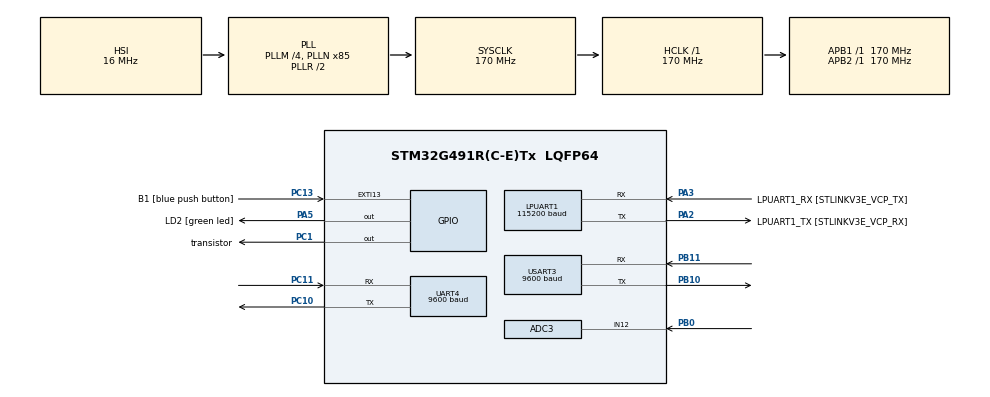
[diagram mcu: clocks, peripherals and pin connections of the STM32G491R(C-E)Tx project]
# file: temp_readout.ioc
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ADC3.Channel-0\#ChannelRegularConversion=ADC_CHANNEL_12
ADC3.NbrOfConversionFlag=1
ADC3.OffsetNumber-0\#ChannelRegularConversion=ADC_OFFSET_NONE
ADC3.Rank-0\#ChannelRegularConversion=1
ADC3.SamplingTime-0\#ChannelRegularConversion=ADC_SAMPLETIME_2CYCLES_5
ADC3.master=1
LPUART1.BaudRate=115200
LPUART1.WordLength=UART_WORDLENGTH_8B
Mcu.Family=STM32G4
Mcu.Name=STM32G491R(C-E)Tx
Mcu.Package=LQFP64
NVIC.EXTI15_10_IRQn=true\:0\:0\:false\:true\:true\:2\:true\:true\:true
NVIC.LPUART1_IRQn=true\:0\:0\:false\:true\:true\:1\:true\:true\:true
NVIC.PriorityGroup=NVIC_PRIORITYGROUP_4
PA13.GPIO_Label=T_SWDIO
PA13.Mode=Serial_Wire
PA13.Signal=SYS_JTMS-SWDIO
PA14.GPIO_Label=T_SWCLK
PA14.Mode=Serial_Wire
PA14.Signal=SYS_JTCK-SWCLK
PA2.GPIO_Label=LPUART1_TX [STLINKV3E_VCP_RX]
PA2.Mode=Asynchronous
PA2.Signal=LPUART1_TX
PA3.GPIO_Label=LPUART1_RX [STLINKV3E_VCP_TX]
PA3.Mode=Asynchronous
PA3.Signal=LPUART1_RX
PA5.GPIO_Label=LD2 [green led]
PA5.Signal=GPIO_Output
PB0.Mode=IN12-Single-Ended
PB0.Signal=ADC3_IN12
PB10.Mode=Asynchronous
PB10.Signal=USART3_TX
PB11.Mode=Asynchronous
PB11.Signal=USART3_RX
PB3.GPIO_Label=T_SWO
PB3.Signal=SYS_JTDO-SWO
PC1.GPIO_Label=transistor
PC1.GPIO_Speed=GPIO_SPEED_FREQ_MEDIUM
PC1.PinState=GPIO_PIN_SET
PC1.Signal=GPIO_Output
PC10.Mode=Asynchronous
PC10.Signal=UART4_TX
PC11.Mode=Asynchronous
PC11.Signal=UART4_RX
PC13.GPIO_Label=B1 [blue push button]
PC13.Signal=GPXTI13
PC14-OSC32_IN.Mode=LSE-External-Oscillator
PC14-OSC32_IN.Signal=RCC_OSC32_IN
PC15-OSC32_OUT.Mode=LSE-External-Oscillator
PC15-OSC32_OUT.Signal=RCC_OSC32_OUT
PF0-OSC_IN.Mode=HSE-External-Oscillator
PF0-OSC_IN.Signal=RCC_OSC_IN
PF1-OSC_OUT.Mode=HSE-External-Oscillator
PF1-OSC_OUT.Signal=RCC_OSC_OUT
ProjectManager.HeapSize=0x200
ProjectManager.StackSize=0x400
ProjectManager.TargetToolchain=STM32CubeIDE
RCC.ADC12Freq_Value=170000000
RCC.ADC345Freq_Value=170000000
RCC.AHBFreq_Value=170000000
RCC.APB1Freq_Value=170000000
RCC.APB1TimFreq_Value=170000000
RCC.APB2Freq_Value=170000000
RCC.APB2TimFreq_Value=170000000
RCC.CortexFreq_Value=170000000
RCC.EXTERNAL_CLOCK_VALUE=12288000
RCC.HCLKFreq_Value=170000000
RCC.HSE_VALUE=24000000
RCC.HSI48_VALUE=48000000
RCC.HSI_VALUE=16000000
RCC.PLLM=RCC_PLLM_DIV4
RCC.PLLN=85
RCC.RTCClockSelection=RCC_RTCCLKSOURCE_LSE
RCC.SYSCLKFreq_VALUE=170000000
RCC.SYSCLKSource=RCC_SYSCLKSOURCE_PLLCLK
RCC.USBFreq_Value=48000000
RCC.VCOOutputFreq_Value=340000000
UART4.BaudRate=9600
USART3.BaudRate=9600
USART3.VirtualMode-Asynchronous=VM_ASYNC
VP_SYS_VS_DBSignals.Mode=DisableDeadBatterySignals
board=NUCLEO-G491RE

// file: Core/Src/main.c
/* USER CODE BEGIN Header */
/**
  ******************************************************************************
  * @file           : main.c
  * @brief          : Main program body
  ******************************************************************************
  * @attention
  *
  * Copyright (c) 2023 STMicroelectronics.
  * All rights reserved.
  *
  * This software is licensed under terms that can be found in the LICENSE file
  * in the root directory of this software component.
  * If no LICENSE file comes with this software, it is provided AS-IS.
  *
  ******************************************************************************
  */
/* USER CODE END Header */
#include "main.h"

/* USER CODE BEGIN Includes */
#include <stdio.h>
#include <string.h>
#include <stdlib.h>
#include <math.h>
#include "EMA_filter.h"
/* USER CODE END Includes */

/* USER CODE BEGIN PTD */
HAL_StatusTypeDef status;
/* USER CODE END PTD */

/* USER CODE BEGIN PD */
#define FIR_FILTER_LENGTH 11
/* USER CODE END PD */

ADC_HandleTypeDef hadc3;

UART_HandleTypeDef hlpuart1;
UART_HandleTypeDef huart4;
UART_HandleTypeDef huart3;

/* USER CODE BEGIN PV */
uint16_t raw;
float temp;
float tempFilter;
uint16_t tempInt;
float tempDiv=0;
uint32_t sampleDiv=0;
char msg[7];
char timer[7];
long int tempProcessFloat;
char tempProcess[4];
char tempProcessString[7];
float floatProcess;

char rx_data[5];
volatile float setpoint=0.0;
volatile float setpointNew=0.0;
char invalidTemp[] = "Invalid Temperature";

char received[3];
uint8_t hysteresis1;
uint8_t hysteresis2;
volatile uint32_t ticks;
uint32_t ticksLong;
volatile uint8_t counter;
volatile uint8_t buttonCount;
GPIO_PinState transistor;
uint8_t hystOn;
uint8_t hystEnable;
uint32_t onTime;
uint32_t startTime;
volatile float startpoint;

float alpha;
EMA filt;
float filterOut;

char txSetpoint[10];
char rxSetpoint[10];
char txMinSetpoint[]="{M30F060\r\n";
char txMaxSetpoint[]="{M312710\r\n";
char txStopCooler[]="{M140000\r\n";
char txStartCooler[]="{M140001\r\n";
char rxStartCooler[10];
char txProcess[]="{M07****\r\n";
char rxProcess[10];

uint16_t set=3000;
char stringSet[2];
char rxSetpoint[10];
uint16_t testSetpoint;
uint8_t length;
uint32_t timeCooler;

float firBuf[31];
float inpFIR;
float outFIR;
float tempFIR;
uint8_t sumIndex;
uint8_t bufIndex;
//filter coefficients
float FIR_FILTER_RESPONSE[31]={-0.001085865252318356,
		-0.000820198808479928,
		-0.000399968844021554,
		0.000607254181376241,
		0.002691675426970146,
		0.006311591779100447,
		0.011798257363143711,
		0.019271958935107820,
		0.028584966261934557,
		0.039303202469766950,
		0.050732418817472154,
		0.061987359581297821,
		0.072095113518572937,
		0.080117842316778404,
		0.085276424945082460,
		0.087055934616432185,
		0.085276424945082460,
		0.080117842316778390,
		0.072095113518572965,
		0.061987359581297835,
		0.050732418817472175,
		0.039303202469766964,
		0.028584966261934575,
		0.019271958935107830,
		0.011798257363143716,
		0.006311591779100447,
		0.002691675426970146,
		0.000607254181376241,
		-0.000399968844021553,
		-0.000820198808479928,
		-0.001085865252318356};
/* USER CODE END PV */

void SystemClock_Config(void);
static void MX_GPIO_Init(void);
static void MX_LPUART1_UART_Init(void);
static void MX_ADC3_Init(void);
static void MX_UART4_Init(void);
static void MX_USART3_UART_Init(void);
static void MX_NVIC_Init(void);
/* USER CODE BEGIN PFP */
 void delay(uint16_t millis);
float FIRFilter(float inpFIR);
float calcFloat(char hexTemp[4]);
char* calcHex(int intTemp);
/* USER CODE END PFP */

int main(void)
{

  /* MCU Configuration--------------------------------------------------------*/

  /* Reset of all peripherals, Initializes the Flash interface and the Systick. */
  HAL_Init();

  /* USER CODE BEGIN Init */
  //EMA_Init(&filt,alpha);
  alpha=0.5;
  filt.out=0.0;
  /* USER CODE END Init */

  /* Configure the system clock */
  SystemClock_Config();

  /* USER CODE BEGIN SysInit */
  //SysTick configuration

    SystemCoreClockUpdate();
    //generate interrupt for every 1ms
    SysTick_Config(SystemCoreClock/10);
    //SysTick ->LOAD = 72000-1;
    SysTick ->CTRL = 0;
    SysTick ->VAL = 0;
    SysTick ->CTRL = (SysTick_CTRL_TICKINT_Msk |
  		            SysTick_CTRL_ENABLE_Msk |
  					SysTick_CTRL_CLKSOURCE_Msk);

  /* USER CODE END SysInit */

  /* Initialize all configured peripherals */
  MX_GPIO_Init();
  MX_LPUART1_UART_Init();
  MX_ADC3_Init();
  MX_UART4_Init();
  MX_USART3_UART_Init();

  /* Initialize interrupts */
  MX_NVIC_Init();
  /* USER CODE BEGIN 2 */

  //hardcode minimum and maximum Setpoint
  HAL_UART_Transmit(&huart4, (uint8_t*)txMaxSetpoint,strlen(txMaxSetpoint),HAL_MAX_DELAY);
  HAL_Delay(2000);
  HAL_UART_Transmit(&huart4, (uint8_t*)txMinSetpoint,strlen(txMinSetpoint),HAL_MAX_DELAY);
  HAL_Delay(2000);

  /* USER CODE END 2 */

  /* Infinite loop */
  while (1)
  {

    /* USER CODE BEGIN 3 */

	HAL_ADC_Start(&hadc3);
	HAL_ADC_PollForConversion(&hadc3,HAL_MAX_DELAY);
	raw=HAL_ADC_GetValue(&hadc3);
	//transform 12 bit ADC value to temperature
	temp=(raw-1030)*0.0183;
	tempInt=(uint32_t)temp;
	sampleDiv++;
	tempFIR=FIRFilter(temp);
	HAL_Delay(2000);

	//pick one sample per second to be transmitted to the terminal
	if(sampleDiv==130000)
	{

		sampleDiv=0;
		//lowpass filter the results (it can be chosen between EMA and FIR filter)
		//tempFilter=EMA_Update(&filt,temp,alpha);
		tempFIR=FIRFilter(temp);
		sprintf(msg,"%.3f\r\n", tempFIR);
        //send filtered temp data to terminal
	    HAL_UART_Transmit(&hlpuart1,(uint8_t*)msg, strlen(msg),HAL_MAX_DELAY);
	    //send time in milliseconds to the terminal
	    sprintf(timer,"%ld\r\n",ticksLong);
	    HAL_UART_Transmit(&hlpuart1,(uint8_t*)timer, strlen(timer),HAL_MAX_DELAY);

	    //request process temperature of cooler (not tested)

	    HAL_UART_Transmit(&huart4, (uint8_t*)txProcess,strlen(txProcess),HAL_MAX_DELAY);
	    HAL_UART_Receive(&huart4, (uint8_t*)rxProcess,10,5000);
	    tempProcess[0]=rxProcess[7];
	    tempProcess[1]=rxProcess[6];
	    tempProcess[2]=rxProcess[5];
	    tempProcess[3]=rxProcess[4];

	    //convert hex value in string format into an integer
	    tempProcessFloat=calcFloat(tempProcess);

	    sprintf(tempProcessString,"%.2f\r\n",tempProcessFloat);
	    //send process temperature to PC in string format
	    HAL_UART_Transmit(&hlpuart1, (uint8_t*)tempProcessString,7,HAL_MAX_DELAY);

	}

	//Transistor On/Off control with hysteresis around final setpoint
	if(hystEnable==1)
	{
	if(temp>setpoint)
	{
	  HAL_GPIO_WritePin(transistor_GPIO_Port, transistor_Pin, GPIO_PIN_RESET);
	  hystOn=1;
	}
	else if(temp<setpoint-1)
	{
	  HAL_GPIO_WritePin(transistor_GPIO_Port, transistor_Pin, GPIO_PIN_SET);
	  hystOn=0;
	}
	else if(temp<=setpoint && temp>=setpoint-1 && hystOn==1)
	{
	  HAL_GPIO_WritePin(transistor_GPIO_Port, transistor_Pin, GPIO_PIN_RESET);
	}
	else if(temp<=setpoint && temp>=setpoint-1 && hystOn==0)
	{
	  HAL_GPIO_WritePin(transistor_GPIO_Port, transistor_Pin, GPIO_PIN_SET);
	}
	}

    //switch the oven on and then off again at the time simulated in simulink
	onTime=ticks-startTime;
	if(setpoint-startpoint>15.00 && setpoint-startpoint<17.00)
	{

	   if(onTime<665000)
	   {
		   HAL_GPIO_WritePin(transistor_GPIO_Port, transistor_Pin, GPIO_PIN_SET);
	   }
	   else if(onTime>665000 && onTime<3030000)
	   {
		   HAL_GPIO_WritePin(transistor_GPIO_Port, transistor_Pin, GPIO_PIN_RESET);

	   }
	   else if(onTime>3030000)
	   {
		   //since a point close to the setpoint is reached the hysteresis control can be enabled
		   hystEnable=1;
	   }
	}
	else if(setpoint-startpoint>17.00 && setpoint-startpoint<19.00)
	{
	   if(onTime<712000)
	   {
		   HAL_GPIO_WritePin(transistor_GPIO_Port, transistor_Pin, GPIO_PIN_SET);
	   }
	   else if(onTime>712000 && onTime<3030000)
	   {
		   HAL_GPIO_WritePin(transistor_GPIO_Port, transistor_Pin, GPIO_PIN_RESET);
	   }
	   else if(onTime>3030000)
	   {
		   hystEnable=1;
	   }

	}
	else if(setpoint-startpoint>19.00 && setpoint-startpoint<21.00)
	{
	   if(onTime<758000)
	   {
		   HAL_GPIO_WritePin(transistor_GPIO_Port, transistor_Pin, GPIO_PIN_SET);
	   }
	   else if(onTime>758000 && onTime<3030000)
	   {
		   HAL_GPIO_WritePin(transistor_GPIO_Port, transistor_Pin, GPIO_PIN_RESET);
	   }
	   else if(onTime>3030000)
	   {
		   hystEnable=1;
	   }

	}
	else if(setpoint-startpoint>21.00 && setpoint-startpoint<23.00)
	{
	   if(onTime<804000)
	   {
		   HAL_GPIO_WritePin(transistor_GPIO_Port, transistor_Pin, GPIO_PIN_SET);
	   }
	   else if(onTime>804000 && onTime<3030000)
	   {
		   HAL_GPIO_WritePin(transistor_GPIO_Port, transistor_Pin, GPIO_PIN_RESET);
	   }
	   else if(onTime>3030000)
	   {
		   hystEnable=1;
	   }

	}
	else if(setpoint-startpoint>23.00 && setpoint-startpoint<25.00)
	{
	   if(onTime<850000)
	   {
		   HAL_GPIO_WritePin(transistor_GPIO_Port, transistor_Pin, GPIO_PIN_SET);
	   }
	   else if(onTime>850000 && onTime<3030000)
	   {
		   HAL_GPIO_WritePin(transistor_GPIO_Port, transistor_Pin, GPIO_PIN_RESET);
	   }
	   else if(onTime>3030000)
	   {
		   hystEnable=1;
	   }

	}
	else if(setpoint-startpoint>25.00 && setpoint-startpoint<27.00)
	{
	   if(onTime<896000)
	   {
		   HAL_GPIO_WritePin(transistor_GPIO_Port, transistor_Pin, GPIO_PIN_SET);
	   }
	   else if(onTime>896000 && onTime<3030000)
	   {
		   HAL_GPIO_WritePin(transistor_GPIO_Port, transistor_Pin, GPIO_PIN_RESET);
	   }
	   else if(onTime>3030000)
	   {
		   hystEnable=1;
	   }

	}
	else if(setpoint-startpoint>27.00 && setpoint-startpoint<29.00)
	{
	   if(onTime<942000)
	   {
		   HAL_GPIO_WritePin(transistor_GPIO_Port, transistor_Pin, GPIO_PIN_SET);
	   }
	   else if(onTime>942000 && onTime<3030000)
	   {
		   HAL_GPIO_WritePin(transistor_GPIO_Port, transistor_Pin, GPIO_PIN_RESET);
	   }
	   else if(onTime>3030000)
	   {
		   hystEnable=1;
	   }

	}
	else if(setpoint-startpoint>29.00 && setpoint-startpoint<31.00)
	{
	   if(onTime<988000)
	   {
		   HAL_GPIO_WritePin(transistor_GPIO_Port, transistor_Pin, GPIO_PIN_SET);
	   }
	   else if(onTime>988000 && onTime<3030000)
	   {
		   HAL_GPIO_WritePin(transistor_GPIO_Port, transistor_Pin, GPIO_PIN_RESET);
	   }
	   else if(onTime>3030000)
	   {
		   hystEnable=1;
	   }

	}
	else if(setpoint-startpoint>31.00 && setpoint-startpoint<33.00)
	{
	   if(onTime<1034000)
	   {
		   HAL_GPIO_WritePin(transistor_GPIO_Port, transistor_Pin, GPIO_PIN_SET);
	   }
	   else if(onTime>1034000 && onTime<3030000)
	   {
		   HAL_GPIO_WritePin(transistor_GPIO_Port, transistor_Pin, GPIO_PIN_RESET);
	   }
	   else if(onTime>3030000)
	   {
		   hystEnable=1;
	   }

	}
	else if(setpoint-startpoint>33.00 && setpoint-startpoint<35.00)
	{
	   if(onTime<1094000)
	   {
		   HAL_GPIO_WritePin(transistor_GPIO_Port, transistor_Pin, GPIO_PIN_SET);
	   }
	   else if(onTime>1094000 && onTime<3030000)
	   {
		   HAL_GPIO_WritePin(transistor_GPIO_Port, transistor_Pin, GPIO_PIN_RESET);
	   }
	   else if(onTime>3030000)
	   {
		   hystEnable=1;
	   }

	}
	else if(setpoint-startpoint>35.00 && setpoint-startpoint<37.00)
	{
	   if(onTime<1148000)
	   {
		   HAL_GPIO_WritePin(transistor_GPIO_Port, transistor_Pin, GPIO_PIN_SET);
	   }
	   else if(onTime>1148000 && onTime<3030000)
	   {
		   HAL_GPIO_WritePin(transistor_GPIO_Port, transistor_Pin, GPIO_PIN_RESET);
	   }
	   else if(onTime>3030000)
	   {
		   hystEnable=1;
	   }

	}

  }
  /* USER CODE END 3 */
}

void SystemClock_Config(void)
{
  RCC_OscInitTypeDef RCC_OscInitStruct = {0};
  RCC_ClkInitTypeDef RCC_ClkInitStruct = {0};

  /** Configure the main internal regulator output voltage
  */
  HAL_PWREx_ControlVoltageScaling(PWR_REGULATOR_VOLTAGE_SCALE1_BOOST);

  /** Initializes the RCC Oscillators according to the specified parameters
  * in the RCC_OscInitTypeDef structure.
  */
  RCC_OscInitStruct.OscillatorType = RCC_OSCILLATORTYPE_HSI;
  RCC_OscInitStruct.HSIState = RCC_HSI_ON;
  RCC_OscInitStruct.HSICalibrationValue = RCC_HSICALIBRATION_DEFAULT;
  RCC_OscInitStruct.PLL.PLLState = RCC_PLL_ON;
  RCC_OscInitStruct.PLL.PLLSource = RCC_PLLSOURCE_HSI;
  RCC_OscInitStruct.PLL.PLLM = RCC_PLLM_DIV4;
  RCC_OscInitStruct.PLL.PLLN = 85;
  RCC_OscInitStruct.PLL.PLLP = RCC_PLLP_DIV2;
  RCC_OscInitStruct.PLL.PLLQ = RCC_PLLQ_DIV2;
  RCC_OscInitStruct.PLL.PLLR = RCC_PLLR_DIV2;
  if (HAL_RCC_OscConfig(&RCC_OscInitStruct) != HAL_OK)
  {
    Error_Handler();
  }

  /** Initializes the CPU, AHB and APB buses clocks
  */
  RCC_ClkInitStruct.ClockType = RCC_CLOCKTYPE_HCLK|RCC_CLOCKTYPE_SYSCLK
                              |RCC_CLOCKTYPE_PCLK1|RCC_CLOCKTYPE_PCLK2;
  RCC_ClkInitStruct.SYSCLKSource = RCC_SYSCLKSOURCE_PLLCLK;
  RCC_ClkInitStruct.AHBCLKDivider = RCC_SYSCLK_DIV1;
  RCC_ClkInitStruct.APB1CLKDivider = RCC_HCLK_DIV1;
  RCC_ClkInitStruct.APB2CLKDivider = RCC_HCLK_DIV1;

  if (HAL_RCC_ClockConfig(&RCC_ClkInitStruct, FLASH_LATENCY_4) != HAL_OK)
  {
    Error_Handler();
  }
}

/**
  * @brief NVIC Configuration.
  * @retval None
  */
static void MX_NVIC_Init(void)
{
  /* LPUART1_IRQn interrupt configuration */
  HAL_NVIC_SetPriority(LPUART1_IRQn, 0, 0);
  HAL_NVIC_EnableIRQ(LPUART1_IRQn);
  /* EXTI15_10_IRQn interrupt configuration */
  HAL_NVIC_SetPriority(EXTI15_10_IRQn, 0, 0);
  HAL_NVIC_EnableIRQ(EXTI15_10_IRQn);
}

static void MX_ADC3_Init(void)
{

  ADC_ChannelConfTypeDef sConfig = {0};

  /** Common config
  */
  hadc3.Instance = ADC3;
  hadc3.Init.ClockPrescaler = ADC_CLOCK_SYNC_PCLK_DIV4;
  hadc3.Init.Resolution = ADC_RESOLUTION_12B;
  hadc3.Init.DataAlign = ADC_DATAALIGN_RIGHT;
  hadc3.Init.GainCompensation = 0;
  hadc3.Init.ScanConvMode = ADC_SCAN_DISABLE;
  hadc3.Init.EOCSelection = ADC_EOC_SINGLE_CONV;
  hadc3.Init.LowPowerAutoWait = DISABLE;
  hadc3.Init.ContinuousConvMode = DISABLE;
  hadc3.Init.NbrOfConversion = 1;
  hadc3.Init.DiscontinuousConvMode = DISABLE;
  hadc3.Init.ExternalTrigConv = ADC_SOFTWARE_START;
  hadc3.Init.ExternalTrigConvEdge = ADC_EXTERNALTRIGCONVEDGE_NONE;
  hadc3.Init.DMAContinuousRequests = DISABLE;
  hadc3.Init.Overrun = ADC_OVR_DATA_PRESERVED;
  hadc3.Init.OversamplingMode = DISABLE;
  if (HAL_ADC_Init(&hadc3) != HAL_OK)
  {
    Error_Handler();
  }

  /** Configure Regular Channel
  */
  sConfig.Channel = ADC_CHANNEL_12;
  sConfig.Rank = ADC_REGULAR_RANK_1;
  sConfig.SamplingTime = ADC_SAMPLETIME_2CYCLES_5;
  sConfig.SingleDiff = ADC_SINGLE_ENDED;
  sConfig.OffsetNumber = ADC_OFFSET_NONE;
  sConfig.Offset = 0;
  if (HAL_ADC_ConfigChannel(&hadc3, &sConfig) != HAL_OK)
  {
    Error_Handler();
  }

}

static void MX_LPUART1_UART_Init(void)
{

  hlpuart1.Instance = LPUART1;
  hlpuart1.Init.BaudRate = 115200;
  hlpuart1.Init.WordLength = UART_WORDLENGTH_8B;
  hlpuart1.Init.StopBits = UART_STOPBITS_1;
  hlpuart1.Init.Parity = UART_PARITY_NONE;
  hlpuart1.Init.Mode = UART_MODE_TX_RX;
  hlpuart1.Init.HwFlowCtl = UART_HWCONTROL_NONE;
  hlpuart1.Init.OneBitSampling = UART_ONE_BIT_SAMPLE_DISABLE;
  hlpuart1.Init.ClockPrescaler = UART_PRESCALER_DIV1;
  hlpuart1.AdvancedInit.AdvFeatureInit = UART_ADVFEATURE_NO_INIT;
  if (HAL_UART_Init(&hlpuart1) != HAL_OK)
  {
    Error_Handler();
  }
  if (HAL_UARTEx_SetTxFifoThreshold(&hlpuart1, UART_TXFIFO_THRESHOLD_1_8) != HAL_OK)
  {
    Error_Handler();
  }
  if (HAL_UARTEx_SetRxFifoThreshold(&hlpuart1, UART_RXFIFO_THRESHOLD_1_8) != HAL_OK)
  {
    Error_Handler();
  }
  if (HAL_UARTEx_DisableFifoMode(&hlpuart1) != HAL_OK)
  {
    Error_Handler();
  }

}

static void MX_UART4_Init(void)
{

  huart4.Instance = UART4;
  huart4.Init.BaudRate = 9600;
  huart4.Init.WordLength = UART_WORDLENGTH_8B;
  huart4.Init.StopBits = UART_STOPBITS_1;
  huart4.Init.Parity = UART_PARITY_NONE;
  huart4.Init.Mode = UART_MODE_TX_RX;
  huart4.Init.HwFlowCtl = UART_HWCONTROL_NONE;
  huart4.Init.OverSampling = UART_OVERSAMPLING_16;
  huart4.Init.OneBitSampling = UART_ONE_BIT_SAMPLE_DISABLE;
  huart4.Init.ClockPrescaler = UART_PRESCALER_DIV1;
  huart4.AdvancedInit.AdvFeatureInit = UART_ADVFEATURE_NO_INIT;
  if (HAL_UART_Init(&huart4) != HAL_OK)
  {
    Error_Handler();
  }
  if (HAL_UARTEx_SetTxFifoThreshold(&huart4, UART_TXFIFO_THRESHOLD_1_8) != HAL_OK)
  {
    Error_Handler();
  }
  if (HAL_UARTEx_SetRxFifoThreshold(&huart4, UART_RXFIFO_THRESHOLD_1_8) != HAL_OK)
  {
    Error_Handler();
  }
  if (HAL_UARTEx_DisableFifoMode(&huart4) != HAL_OK)
  {
    Error_Handler();
  }

}

static void MX_USART3_UART_Init(void)
{

  huart3.Instance = USART3;
  huart3.Init.BaudRate = 9600;
  huart3.Init.WordLength = UART_WORDLENGTH_8B;
  huart3.Init.StopBits = UART_STOPBITS_1;
  huart3.Init.Parity = UART_PARITY_NONE;
  huart3.Init.Mode = UART_MODE_TX_RX;
  huart3.Init.HwFlowCtl = UART_HWCONTROL_NONE;
  //huart3.Init.OverSampling = UART_OVERSAMPLING_16;
  huart3.Init.OneBitSampling = UART_ONE_BIT_SAMPLE_DISABLE;
  huart3.Init.ClockPrescaler = UART_PRESCALER_DIV1;
  huart3.AdvancedInit.AdvFeatureInit = UART_ADVFEATURE_NO_INIT;
  if (HAL_UART_Init(&huart3) != HAL_OK)
  {
    Error_Handler();
  }
  if (HAL_UARTEx_SetTxFifoThreshold(&huart3, UART_TXFIFO_THRESHOLD_1_8) != HAL_OK)
  {
    Error_Handler();
  }
  if (HAL_UARTEx_SetRxFifoThreshold(&huart3, UART_RXFIFO_THRESHOLD_1_8) != HAL_OK)
  {
    Error_Handler();
  }
  if (HAL_UARTEx_DisableFifoMode(&huart3) != HAL_OK)
  {
    Error_Handler();
  }

}

static void MX_GPIO_Init(void)
{
  GPIO_InitTypeDef GPIO_InitStruct = {0};

  /* GPIO Ports Clock Enable */
  __HAL_RCC_GPIOC_CLK_ENABLE();
  __HAL_RCC_GPIOF_CLK_ENABLE();
  __HAL_RCC_GPIOA_CLK_ENABLE();
  __HAL_RCC_GPIOB_CLK_ENABLE();

  /*Configure GPIO pin Output Level */
  HAL_GPIO_WritePin(transistor_GPIO_Port, transistor_Pin, GPIO_PIN_SET);

  /*Configure GPIO pin Output Level */
  HAL_GPIO_WritePin(LD2_GPIO_Port, LD2_Pin, GPIO_PIN_RESET);

  /*Configure GPIO pin : B1_Pin */
  GPIO_InitStruct.Pin = B1_Pin;
  GPIO_InitStruct.Mode = GPIO_MODE_IT_RISING;
  GPIO_InitStruct.Pull = GPIO_NOPULL;
  HAL_GPIO_Init(B1_GPIO_Port, &GPIO_InitStruct);

  /*Configure GPIO pin : transistor_Pin */
  GPIO_InitStruct.Pin = transistor_Pin;
  GPIO_InitStruct.Mode = GPIO_MODE_OUTPUT_PP;
  GPIO_InitStruct.Pull = GPIO_NOPULL;
  GPIO_InitStruct.Speed = GPIO_SPEED_FREQ_MEDIUM;
  HAL_GPIO_Init(transistor_GPIO_Port, &GPIO_InitStruct);

  /*Configure GPIO pin : LD2_Pin */
  GPIO_InitStruct.Pin = LD2_Pin;
  GPIO_InitStruct.Mode = GPIO_MODE_OUTPUT_PP;
  GPIO_InitStruct.Pull = GPIO_NOPULL;
  GPIO_InitStruct.Speed = GPIO_SPEED_FREQ_LOW;
  HAL_GPIO_Init(LD2_GPIO_Port, &GPIO_InitStruct);

}

/* USER CODE BEGIN 4 */
/*

*/
//
//SysTick interrupt handler
 void SysTick_Handler(void)
 {
	 HAL_IncTick();
	 ticks++;
	 if(ticks==0)
	  	{
	  		counter++;
	  	}
 	ticksLong=counter*65535+ticks;

 }

 //Button interrupt for user to enter the setpoints for oven and cooler
 void HAL_GPIO_EXTI_Callback(uint16_t GPIO_Pin)
 {
	 char firstChar;
	 char setpointPromptTvac[]="Please enter Setpoint for TVAC";
	 HAL_StatusTypeDef status;
	 if(GPIO_Pin=B1_Pin)
	 {
		 if(buttonCount==0)
		 {

			 HAL_UART_Transmit(&huart4, (uint8_t*)setpointPromptTvac,strlen(setpointPromptTvac),HAL_MAX_DELAY);
			//UART checks if setpoint is in valid range
			while(setpointNew<20.00 || setpointNew>60.00)
			{
			  //UART waits for user to enter 5 chars
		      HAL_UART_Receive(&hlpuart1,(uint8_t*)rx_data,5,HAL_MAX_DELAY);
			  setpoint=atof(rx_data);
			  setpointNew=setpoint;
			}
			//reset setpointNew
			setpointNew=0.00;
            startTime=ticks;
            startpoint=temp;
            buttonCount++;
		 }

		 else
		 {
             //this part is not tested
			 char setpointPromptCooler[]="Please enter Setpoint for cooler";
			 char rxTemp[6];
			 float rxTempFloat;
			 int rxTempInt;
			 char rxTempHex[4];
			 char dumpArray[8];
			 float sign;
			 uint8_t signRound[4];
			 int result;
			 HAL_UART_Transmit(&hlpuart1, (uint8_t*)setpointPromptCooler,strlen(setpointPromptCooler),HAL_MAX_DELAY);
			 //UART waits for user to input setpoint in format +-xx.xx
			 HAL_UART_Receive(&hlpuart1, (uint8_t*)rxTemp,6,HAL_MAX_DELAY);

			 rxTempFloat=atof(rxTemp);
			 //Temperature value in float format is converted into hex value
			 rxTempFloat=rxTempFloat*100;
			 rxTempInt=(int)rxTempFloat;

			 if(rxTempInt<0)
			 {
			    result=65536+rxTempInt;
			 }
			 else
			 {
				 result=rxTempInt;
			 }
			 for(int i=3;i==0;i--)
			 {
				sign=result/pow(16,i);
				signRound[i]=floor(sign);
				result=result-signRound[i]*pow(16,i);
			 }

			 //hex values have to converted to string format
		     sprintf(rxTempHex[0],"%u",signRound[3]);
		     sprintf(rxTempHex[1],"%u",signRound[2]);
		     sprintf(rxTempHex[2],"%u",signRound[1]);
		     sprintf(rxTempHex[3],"%u",signRound[0]);
             //command is built be concatenation
			 memcpy(dumpArray,strcat("{M00",rxTempHex),8);
			 memcpy(txSetpoint,strcat(dumpArray,"\r\n"),10);
             //send setpoint to cooler
             HAL_UART_Transmit(&huart4, (uint8_t*)txSetpoint,sizeof(txSetpoint),HAL_MAX_DELAY);
             //wait for a time of HAL_MAX_DELAY for a response from the cooler
		     HAL_UART_Receive(&huart4, (uint8_t*)rxSetpoint,sizeof(rxSetpoint),5000);

		     //verify that message was received correctly by printing the response on the console
		     HAL_UART_Transmit(&huart4, (uint8_t*)rxSetpoint,sizeof(rxSetpoint),HAL_MAX_DELAY);
             //wait for 2s for in order to be able to read the message on the console
			 HAL_Delay(2000);
			 HAL_UART_Transmit(&huart4, (uint8_t*)txStartCooler,strlen(txStartCooler),HAL_MAX_DELAY);
			 HAL_UART_Receive(&huart4, (uint8_t*)rxStartCooler,strlen(rxStartCooler),HAL_MAX_DELAY);
			 buttonCount=0;

		 }
	 }
 }

 //calculate the temperature in readable form from hex value in command
 float calcFloat(char hexTemp[4])
 {
	 int intProcess;
	 int ergeb;
	 for(int i=0;i<=3;i++)
	 {
		 switch(hexTemp[i])
		 {
		 case '0':
			 intProcess=0;
			 break;
		 case '1':
			 intProcess=1;
			 break;
		 case '2':
			 intProcess=2;
			 break;
		 case '3':
			 intProcess=3;
		 case '4':
			 intProcess=4;
			 break;
		 case '5':
			 intProcess=5;
			 break;
		 case '6':
			 intProcess=6;
			 break;
		 case '7':
			 intProcess=7;
			 break;
		 case '8':
			 intProcess=8;
			 break;
		 case '9':
			 intProcess=9;
			 break;
		 case 'A':
			 intProcess=10;
			 break;
		 case 'B':
			 intProcess=11;
			 break;
		 case 'C':
			 intProcess=12;
			 break;
		 case 'D':
			 intProcess=13;
			 break;
		 case 'E':
			 intProcess=14;
			 break;
		 case 'F':
			 intProcess=15;
			 break;
		 }
     //in case temperature was positive
     if(hexTemp[0]=='0' || hexTemp[1]=='1' || hexTemp[2]=='2')
     {
    	 ergeb=ergeb+intProcess*pow(16,i);
     }
     else
     //in case temperature was negative
     {
    	 ergeb=ergeb+intProcess*pow(16,i)-65536;
	 }
	 return floatProcess=ergeb/100;
 }
 }

 //lowpass filter with a cutoff frequency of 0.04Hz and Hamming window
 float FIRFilter(float inpFIR)
 {
	 //fill up the ring buffer
	 firBuf[bufIndex]=inpFIR;
	 bufIndex++;

	 if(bufIndex==FIR_FILTER_LENGTH)
	 {
		 bufIndex=0;
	 }

	 outFIR=0;
	 //pointer to last input value
	 sumIndex=bufIndex;
	 for(uint8_t n=0; n<FIR_FILTER_LENGTH;n++)
	 {
		 if(sumIndex>0)
		 {
			 sumIndex--;
		 }
		 else
		 {
			 sumIndex=FIR_FILTER_LENGTH-1;
		 }
		 //calculate output vector
		 outFIR+=FIR_FILTER_RESPONSE[n]*firBuf[sumIndex];
	 }
	 return outFIR;
 }

/* USER CODE END 4 */

void Error_Handler(void)
{

  __disable_irq();
  while (1)
  {
  }

}
